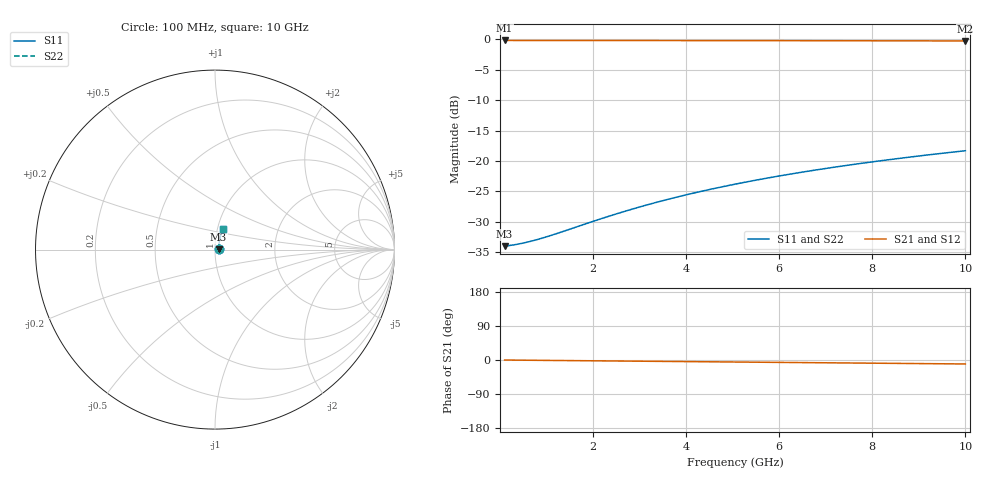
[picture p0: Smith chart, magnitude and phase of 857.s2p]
# Hz S RI R 50.00
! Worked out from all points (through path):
!   100 points, 100 MHz to 10 GHz, reference 50 ohm
!   highest |S21| = -0.17 dB at 100 MHz (marker M1); lowest = -0.3 dB at 10 GHz (marker M2)
!   group delay of S21, straight-line fit = 2.91 ps
!   lowest |S11| = -34.0 dB at 100 MHz (marker M3), VSWR 1.04, Z = 52 + j0.122 ohm
!   |S11| at or under -10 dB: start of sweep to end of sweep
!   |S22| runs from -34.0 to -18.3 dB; largest |S21 - S12| = 0
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1e8  0.0198 0.00117  0.9802 -0.0018  0.9802 -0.0018  0.0198 0.00117
3e8  0.0201 0.00351  0.9799 -0.0054  0.9799 -0.0054  0.0201 0.00351
4e8  0.0202 0.00468  0.9798 -0.0072  0.9798 -0.0072  0.0202 0.00468
6e8  0.0203 0.00702  0.9797 -0.0108  0.9797 -0.0108  0.0203 0.00702
8e8  0.0205 0.00935  0.9795 -0.0144  0.9795 -0.0144  0.0205 0.00935
1e9  0.0206 0.0117  0.9793 -0.018  0.9793 -0.018  0.0206 0.0117
1.2e9  0.0208 0.014  0.9792 -0.0216  0.9792 -0.0216  0.0208 0.014
1.8e9  0.0213 0.021  0.9786 -0.0324  0.9786 -0.0324  0.0213 0.021
2.2e9  0.0218 0.0257  0.9781 -0.0395  0.9781 -0.0395  0.0218 0.0257
2.6e9  0.0223 0.0303  0.9776 -0.0467  0.9776 -0.0467  0.0223 0.0303
3e9  0.0228 0.0349  0.977 -0.0539  0.977 -0.0539  0.0228 0.0349
3.4e9  0.0234 0.0396  0.9763 -0.061  0.9763 -0.061  0.0234 0.0396
3.8e9  0.0241 0.0442  0.9756 -0.0681  0.9756 -0.0681  0.0241 0.0442
4.2e9  0.0249 0.0488  0.9748 -0.0753  0.9748 -0.0753  0.0249 0.0488
4.6e9  0.0257 0.0534  0.9739 -0.0824  0.9739 -0.0824  0.0257 0.0534
5.1e9  0.0268 0.0591  0.9727 -0.0913  0.9727 -0.0913  0.0268 0.0591
5.9e9  0.0287 0.0682  0.9705 -0.1054  0.9705 -0.1054  0.0287 0.0682
6.7e9  0.0309 0.0772  0.9681 -0.1195  0.9681 -0.1195  0.0309 0.0772
7.5e9  0.0334 0.0861  0.9654 -0.1335  0.9654 -0.1335  0.0334 0.0861
8.4e9  0.0365 0.0961  0.962 -0.1491  0.962 -0.1491  0.0365 0.0961
9.2e9  0.0395 0.1048  0.9587 -0.1629  0.9587 -0.1629  0.0395 0.1048
1e10  0.0428 0.1134  0.9552 -0.1766  0.9552 -0.1766  0.0428 0.1134
